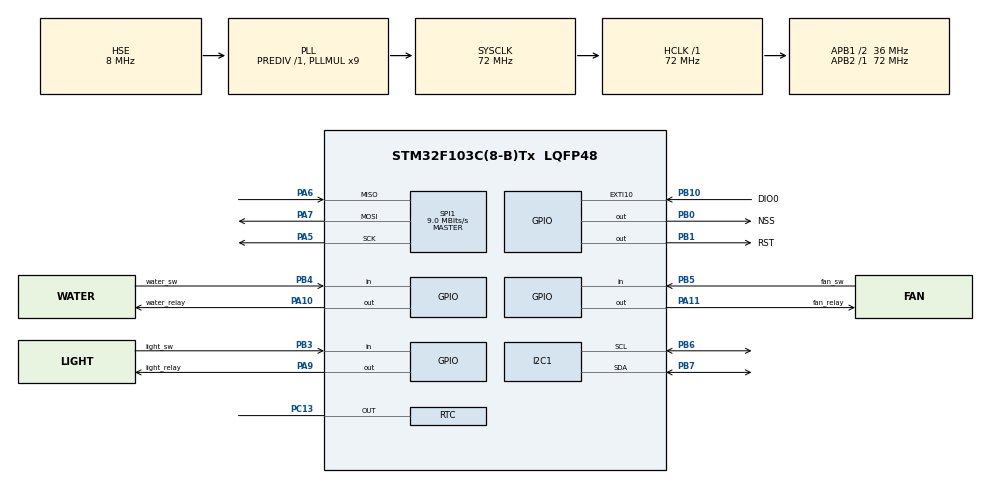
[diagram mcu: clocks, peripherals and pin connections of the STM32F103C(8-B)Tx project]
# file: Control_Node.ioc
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I2C1.I2C_Mode=I2C_Fast
Mcu.Family=STM32F1
Mcu.Name=STM32F103C(8-B)Tx
Mcu.Package=LQFP48
NVIC.EXTI15_10_IRQn=true\:0\:0\:false\:false\:true\:true\:true\:true
NVIC.PriorityGroup=NVIC_PRIORITYGROUP_4
NVIC.RTC_Alarm_IRQn=true\:0\:0\:false\:false\:true\:true\:true\:true
PA10.GPIO_Label=water_relay
PA10.Signal=GPIO_Output
PA11.GPIO_Label=fan_relay
PA11.Signal=GPIO_Output
PA13.Mode=Serial_Wire
PA13.Signal=SYS_JTMS-SWDIO
PA14.Mode=Serial_Wire
PA14.Signal=SYS_JTCK-SWCLK
PA5.Mode=Full_Duplex_Master
PA5.Signal=SPI1_SCK
PA6.Mode=Full_Duplex_Master
PA6.Signal=SPI1_MISO
PA7.Mode=Full_Duplex_Master
PA7.Signal=SPI1_MOSI
PA9.GPIO_Label=light_relay
PA9.Signal=GPIO_Output
PB0.GPIO_Label=NSS
PB0.PinState=GPIO_PIN_SET
PB0.Signal=GPIO_Output
PB1.GPIO_Label=RST
PB1.PinState=GPIO_PIN_SET
PB1.Signal=GPIO_Output
PB10.GPIO_Label=DIO0
PB10.Signal=GPXTI10
PB3.GPIO_Label=light_sw
PB3.Signal=GPIO_Input
PB4.GPIO_Label=water_sw
PB4.Signal=GPIO_Input
PB5.GPIO_Label=fan_sw
PB5.Signal=GPIO_Input
PB6.Mode=I2C
PB6.Signal=I2C1_SCL
PB7.Mode=I2C
PB7.Signal=I2C1_SDA
PC13-TAMPER-RTC.Mode=RTC OUT
PC13-TAMPER-RTC.Signal=RTC_OUT
PC14-OSC32_IN.Mode=LSE-External-Oscillator
PC14-OSC32_IN.Signal=RCC_OSC32_IN
PC15-OSC32_OUT.Mode=LSE-External-Oscillator
PC15-OSC32_OUT.Signal=RCC_OSC32_OUT
PD0-OSC_IN.Mode=HSE-External-Oscillator
PD0-OSC_IN.Signal=RCC_OSC_IN
PD1-OSC_OUT.Mode=HSE-External-Oscillator
PD1-OSC_OUT.Signal=RCC_OSC_OUT
ProjectManager.HeapSize=0x200
ProjectManager.StackSize=0x400
ProjectManager.TargetToolchain=STM32CubeIDE
RCC.AHBFreq_Value=72000000
RCC.APB1CLKDivider=RCC_HCLK_DIV2
RCC.APB1Freq_Value=36000000
RCC.APB1TimFreq_Value=72000000
RCC.APB2Freq_Value=72000000
RCC.APB2TimFreq_Value=72000000
RCC.HCLKFreq_Value=72000000
RCC.PLLMUL=RCC_PLL_MUL9
RCC.PLLSourceVirtual=RCC_PLLSOURCE_HSE
RCC.SYSCLKFreq_VALUE=72000000
RCC.SYSCLKSource=RCC_SYSCLKSOURCE_PLLCLK
RCC.USBFreq_Value=72000000
RTC.Seconds_A-RTC\ OUT=12
SPI1.BaudRatePrescaler=SPI_BAUDRATEPRESCALER_8
SPI1.CalculateBaudRate=9.0 MBits/s
SPI1.Direction=SPI_DIRECTION_2LINES
SPI1.Mode=SPI_MODE_MASTER
SPI1.VirtualType=VM_MASTER
VP_RTC_VS_RTC_Activate.Mode=RTC_Enabled
board=custom

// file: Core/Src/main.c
/* USER CODE BEGIN Header */
/**
  ******************************************************************************
  * @file           : main.c
  * @brief          : Main program body
  ******************************************************************************
  * @attention
  *
  * Copyright (c) 2025 STMicroelectronics.
  * All rights reserved.
  *
  * This software is licensed under terms that can be found in the LICENSE file
  * in the root directory of this software component.
  * If no LICENSE file comes with this software, it is provided AS-IS.
  *
  ******************************************************************************
  */
/* USER CODE END Header */
#include "main.h"

/* USER CODE BEGIN Includes */
#include "Lora.h"
#include <stdio.h>
#include "config.h"

/* USER CODE END Includes */

/* USER CODE BEGIN PD */
LoRa myLoRa;
uint16_t LoRa_Status;

typedef struct {
    uint8_t Check_ID;
    uint16_t Humidity;
    uint16_t Temperature;
    uint16_t LUX;
    uint16_t Data_MQ135;
    uint16_t soil_Temp;
    uint16_t soil_Moisture;
} SensorData_t;
SensorData_t sensorData;

uint8_t Received_Data[16]; //Buffer to store received data
volatile uint8_t relay_state = 0; // Variable to hold the relay state extracted from received data
volatile uint8_t current_state_flag = 0; //flag to send relays state to Gateway
uint8_t Alarm_set = 0x03;
uint8_t Transmit_Status_Data[2];
volatile uint32_t relayFanEndTime;
volatile uint32_t relayPumpEndTime;

typedef enum {
    MODE_MANUAL,
    MODE_AUTOMATE
} ControlMode_t;
ControlMode_t control_mode = MODE_MANUAL;

#define CMD_MANUAL   0xAA
#define CMD_AUTOMATE 0xBB

/* USER CODE END PD */

I2C_HandleTypeDef hi2c1;

RTC_HandleTypeDef hrtc;

SPI_HandleTypeDef hspi1;

void SystemClock_Config(void);
static void MX_GPIO_Init(void);
static void MX_I2C1_Init(void);
static void MX_SPI1_Init(void);
static void MX_RTC_Init(void);
/* USER CODE BEGIN PFP */

static void Relay_Change_State(void);
static void Fuzzilization_Data(void);
void Fuzzy_Pump_Control(void);
void Fuzzy_Fan_Control(void);
void Fuzzy_Check_Relay_Status(void);

float Critical_High_Temp(uint16_t Temp);
float Critical_Low_Temp(uint16_t Temp);
float Critical_High_Hum(uint16_t Hum);
float Critical_Low_Hum(uint16_t Hum);
float Critical_High_MQ135(uint16_t MQ135);
float Critical_High_Moisture(uint16_t Moisture);
float Critical_Low_Moisture(uint16_t Moisture);
float Critical_High_TempSoil(uint16_t TempSoil);
float Critical_Low_TempSoil(uint16_t TempSoil);
void Light_Control(uint16_t LUX);

void Set_Control_Mode_From_Command(uint8_t cmd);
void Send_Relay_Mode_Status(void);
/* USER CODE END PFP */

int main(void)
{

  /* MCU Configuration--------------------------------------------------------*/

  /* Reset of all peripherals, Initializes the Flash interface and the Systick. */
  HAL_Init();

  /* Configure the system clock */
  SystemClock_Config();

  /* Initialize all configured peripherals */
  MX_GPIO_Init();
  MX_I2C1_Init();
  MX_SPI1_Init();
  MX_RTC_Init();
  /* USER CODE BEGIN 2 */
  //LORA STATUS CONFIG
  myLoRa = newLoRa();

  myLoRa.CS_port         = NSS_GPIO_Port;
  myLoRa.CS_pin          = NSS_Pin;
  myLoRa.reset_port      = RST_GPIO_Port;
  myLoRa.reset_pin       = RST_Pin;
  myLoRa.DIO0_port       = DIO0_GPIO_Port;
  myLoRa.DIO0_pin        = DIO0_Pin;
  myLoRa.hSPIx           = &hspi1;

  myLoRa.frequency             = 440;             // default = 433 MHz
  myLoRa.spredingFactor        = SF_7;            // default = SF_7
  myLoRa.bandWidth             = BW_31_25KHz;       // default = BW_125KHz
  myLoRa.crcRate               = CR_4_5;          // default = CR_4_5
  myLoRa.power                 = POWER_20db;      // default = 20db
  myLoRa.overCurrentProtection = 130;             // default = 100 mA
  myLoRa.preamble              = 9;              // default = 8;

  if (LoRa_init(&myLoRa) == LORA_OK)
  {
  	LoRa_Status = 1;
  }

  LoRa_startReceiving(&myLoRa);

  /* USER CODE END 2 */

  /* Infinite loop */
  while (1)
  {

    /* USER CODE BEGIN 3 */
#if new_function == 1
	  Send_Relay_Mode_Status();// Hàm này chỉ được gọi một lần khi RTC wakeup mỗi 12s

	  if (Received_Data[0] == 0xFF)
	  {
		  //TURNOFF ALL THE RELAYS WHEN GATEWAY OFFER RESTART THE NETWORK
		  HAL_GPIO_WritePin(GPIOA, GPIO_PIN_9, RESET);
		  HAL_GPIO_WritePin(GPIOA, GPIO_PIN_10, RESET);
		  HAL_GPIO_WritePin(GPIOA, GPIO_PIN_11, RESET);
		  while(Received_Data[0] != 0xC0) //0XEE
		  {

		  }
		  HAL_Delay(750); //Wait for the other 2 nodes complete transmit
		  LoRa_transmit(&myLoRa, &Alarm_set, sizeof(Alarm_set), 500);
		  LoRa_startReceiving(&myLoRa);
		  while(Received_Data[0] != 0xB0) //0xDD
		  {

		  }
		  MX_RTC_Init();
	  }
	  else
	  {
		  switch (control_mode)
		  {
		      case MODE_MANUAL:
		          Relay_Change_State();
		          break;

		      case MODE_AUTOMATE:
				  Fuzzilization_Data();
				  Fuzzy_Check_Relay_Status();
				  break;

		      default:
		    	  break;
		  }

		  if (Received_Data[0] == 0xA3 && Received_Data[1] == 0xCC && control_mode != MODE_AUTOMATE)
		  {
		        // Extract relay state from the second byte
		        relay_state = Received_Data[2];

		        // Control the relays based on the relay state
		        if (relay_state & 0x01)  // Check if bit 0 (water pump) is set
		        {
		            HAL_GPIO_WritePin(GPIOA, GPIO_PIN_11, GPIO_PIN_SET); // Turn on water pump
		        }
		        else
		        {
		            HAL_GPIO_WritePin(GPIOA, GPIO_PIN_11, GPIO_PIN_RESET); // Turn off water pump
		        }

		        if (relay_state & 0x02)  // Check if bit 1 (light) is set
		        {
		            HAL_GPIO_WritePin(GPIOA, GPIO_PIN_9, GPIO_PIN_SET); // Turn on light
		        }
		        else
		        {
		            HAL_GPIO_WritePin(GPIOA, GPIO_PIN_9, GPIO_PIN_RESET); // Turn off light
		        }

		        if (relay_state & 0x04)  // Check if bit 2 (fan) is set
		        {
		            HAL_GPIO_WritePin(GPIOA, GPIO_PIN_10, GPIO_PIN_SET); // Turn on fan
		        }
		        else
		        {
		            HAL_GPIO_WritePin(GPIOA, GPIO_PIN_10, GPIO_PIN_RESET); // Turn off fan
		        }
		  }
	  }
#endif
  }
  /* USER CODE END 3 */
}

void SystemClock_Config(void)
{
  RCC_OscInitTypeDef RCC_OscInitStruct = {0};
  RCC_ClkInitTypeDef RCC_ClkInitStruct = {0};
  RCC_PeriphCLKInitTypeDef PeriphClkInit = {0};

  /** Initializes the RCC Oscillators according to the specified parameters
  * in the RCC_OscInitTypeDef structure.
  */
  RCC_OscInitStruct.OscillatorType = RCC_OSCILLATORTYPE_LSI|RCC_OSCILLATORTYPE_HSE;
  RCC_OscInitStruct.HSEState = RCC_HSE_ON;
  RCC_OscInitStruct.HSEPredivValue = RCC_HSE_PREDIV_DIV1;
  RCC_OscInitStruct.HSIState = RCC_HSI_ON;
  RCC_OscInitStruct.LSIState = RCC_LSI_ON;
  RCC_OscInitStruct.PLL.PLLState = RCC_PLL_ON;
  RCC_OscInitStruct.PLL.PLLSource = RCC_PLLSOURCE_HSE;
  RCC_OscInitStruct.PLL.PLLMUL = RCC_PLL_MUL9;
  if (HAL_RCC_OscConfig(&RCC_OscInitStruct) != HAL_OK)
  {
    Error_Handler();
  }

  /** Initializes the CPU, AHB and APB buses clocks
  */
  RCC_ClkInitStruct.ClockType = RCC_CLOCKTYPE_HCLK|RCC_CLOCKTYPE_SYSCLK
                              |RCC_CLOCKTYPE_PCLK1|RCC_CLOCKTYPE_PCLK2;
  RCC_ClkInitStruct.SYSCLKSource = RCC_SYSCLKSOURCE_PLLCLK;
  RCC_ClkInitStruct.AHBCLKDivider = RCC_SYSCLK_DIV1;
  RCC_ClkInitStruct.APB1CLKDivider = RCC_HCLK_DIV2;
  RCC_ClkInitStruct.APB2CLKDivider = RCC_HCLK_DIV1;

  if (HAL_RCC_ClockConfig(&RCC_ClkInitStruct, FLASH_LATENCY_2) != HAL_OK)
  {
    Error_Handler();
  }
  PeriphClkInit.PeriphClockSelection = RCC_PERIPHCLK_RTC;
  PeriphClkInit.RTCClockSelection = RCC_RTCCLKSOURCE_LSI;
  if (HAL_RCCEx_PeriphCLKConfig(&PeriphClkInit) != HAL_OK)
  {
    Error_Handler();
  }
}

static void MX_I2C1_Init(void)
{

  hi2c1.Instance = I2C1;
  hi2c1.Init.ClockSpeed = 400000;
  hi2c1.Init.DutyCycle = I2C_DUTYCYCLE_2;
  hi2c1.Init.OwnAddress1 = 0;
  hi2c1.Init.AddressingMode = I2C_ADDRESSINGMODE_7BIT;
  hi2c1.Init.DualAddressMode = I2C_DUALADDRESS_DISABLE;
  hi2c1.Init.OwnAddress2 = 0;
  hi2c1.Init.GeneralCallMode = I2C_GENERALCALL_DISABLE;
  hi2c1.Init.NoStretchMode = I2C_NOSTRETCH_DISABLE;
  if (HAL_I2C_Init(&hi2c1) != HAL_OK)
  {
    Error_Handler();
  }

}

static void MX_RTC_Init(void)
{

  RTC_TimeTypeDef sTime = {0};
  RTC_DateTypeDef DateToUpdate = {0};
  RTC_AlarmTypeDef sAlarm = {0};

  /** Initialize RTC Only
  */
  hrtc.Instance = RTC;
  hrtc.Init.AsynchPrediv = RTC_AUTO_1_SECOND;
  hrtc.Init.OutPut = RTC_OUTPUTSOURCE_ALARM;
  if (HAL_RTC_Init(&hrtc) != HAL_OK)
  {
    Error_Handler();
  }

  /** Initialize RTC and set the Time and Date
  */
  sTime.Hours = 0x0;
  sTime.Minutes = 0x0;
  sTime.Seconds = 0x0;

  if (HAL_RTC_SetTime(&hrtc, &sTime, RTC_FORMAT_BCD) != HAL_OK)
  {
    Error_Handler();
  }
  DateToUpdate.WeekDay = RTC_WEEKDAY_MONDAY;
  DateToUpdate.Month = RTC_MONTH_JANUARY;
  DateToUpdate.Date = 0x1;
  DateToUpdate.Year = 0x0;

  if (HAL_RTC_SetDate(&hrtc, &DateToUpdate, RTC_FORMAT_BCD) != HAL_OK)
  {
    Error_Handler();
  }

  /** Enable the Alarm A
  */
  sAlarm.AlarmTime.Hours = 0x0;
  sAlarm.AlarmTime.Minutes = 0x0;
  sAlarm.AlarmTime.Seconds = 0x12;
  sAlarm.Alarm = RTC_ALARM_A;
  if (HAL_RTC_SetAlarm_IT(&hrtc, &sAlarm, RTC_FORMAT_BCD) != HAL_OK)
  {
    Error_Handler();
  }

}

static void MX_SPI1_Init(void)
{

  /* SPI1 parameter configuration*/
  hspi1.Instance = SPI1;
  hspi1.Init.Mode = SPI_MODE_MASTER;
  hspi1.Init.Direction = SPI_DIRECTION_2LINES;
  hspi1.Init.DataSize = SPI_DATASIZE_8BIT;
  hspi1.Init.CLKPolarity = SPI_POLARITY_LOW;
  hspi1.Init.CLKPhase = SPI_PHASE_1EDGE;
  hspi1.Init.NSS = SPI_NSS_SOFT;
  hspi1.Init.BaudRatePrescaler = SPI_BAUDRATEPRESCALER_8;
  hspi1.Init.FirstBit = SPI_FIRSTBIT_MSB;
  hspi1.Init.TIMode = SPI_TIMODE_DISABLE;
  hspi1.Init.CRCCalculation = SPI_CRCCALCULATION_DISABLE;
  hspi1.Init.CRCPolynomial = 10;
  if (HAL_SPI_Init(&hspi1) != HAL_OK)
  {
    Error_Handler();
  }

}

static void MX_GPIO_Init(void)
{
  GPIO_InitTypeDef GPIO_InitStruct = {0};

  /* GPIO Ports Clock Enable */
  __HAL_RCC_GPIOC_CLK_ENABLE();
  __HAL_RCC_GPIOD_CLK_ENABLE();
  __HAL_RCC_GPIOA_CLK_ENABLE();
  __HAL_RCC_GPIOB_CLK_ENABLE();

  /*Configure GPIO pin Output Level */
  HAL_GPIO_WritePin(GPIOB, NSS_Pin|RST_Pin, GPIO_PIN_SET);

  /*Configure GPIO pin Output Level */
  HAL_GPIO_WritePin(GPIOA, light_relay_Pin|water_relay_Pin|fan_relay_Pin, GPIO_PIN_RESET);

  /*Configure GPIO pins : NSS_Pin RST_Pin */
  GPIO_InitStruct.Pin = NSS_Pin|RST_Pin;
  GPIO_InitStruct.Mode = GPIO_MODE_OUTPUT_PP;
  GPIO_InitStruct.Pull = GPIO_NOPULL;
  GPIO_InitStruct.Speed = GPIO_SPEED_FREQ_LOW;
  HAL_GPIO_Init(GPIOB, &GPIO_InitStruct);

  /*Configure GPIO pin : DIO0_Pin */
  GPIO_InitStruct.Pin = DIO0_Pin;
  GPIO_InitStruct.Mode = GPIO_MODE_IT_RISING;
  GPIO_InitStruct.Pull = GPIO_NOPULL;
  HAL_GPIO_Init(DIO0_GPIO_Port, &GPIO_InitStruct);

  /*Configure GPIO pins : light_relay_Pin water_relay_Pin fan_relay_Pin */
  GPIO_InitStruct.Pin = light_relay_Pin|water_relay_Pin|fan_relay_Pin;
  GPIO_InitStruct.Mode = GPIO_MODE_OUTPUT_PP;
  GPIO_InitStruct.Pull = GPIO_NOPULL;
  GPIO_InitStruct.Speed = GPIO_SPEED_FREQ_LOW;
  HAL_GPIO_Init(GPIOA, &GPIO_InitStruct);

  /*Configure GPIO pins : light_sw_Pin water_sw_Pin fan_sw_Pin */
  GPIO_InitStruct.Pin = light_sw_Pin|water_sw_Pin|fan_sw_Pin;
  GPIO_InitStruct.Mode = GPIO_MODE_INPUT;
  GPIO_InitStruct.Pull = GPIO_NOPULL;
  HAL_GPIO_Init(GPIOB, &GPIO_InitStruct);

  /* EXTI interrupt init*/
  HAL_NVIC_SetPriority(EXTI15_10_IRQn, 0, 0);
  HAL_NVIC_EnableIRQ(EXTI15_10_IRQn);

}

/* USER CODE BEGIN 4 */
//THIS WAKE UP TRIGGERED BY GPIO DIO0, HAPPENS WHEN A DATA RECEIVED BY SX1278 MODULE
void HAL_GPIO_EXTI_Callback(uint16_t GPIO_Pin)
{
    if (GPIO_Pin == DIO0_Pin)
    {
    	LoRa_receive(&myLoRa, Received_Data, sizeof(Received_Data));
    	Set_Control_Mode_From_Command(Received_Data[1]);
    }
}

#if new_function == 1
static void Relay_Change_State(void)
{
    if (Received_Data[0] == 0xA3 && Received_Data[1] == 0xAA)
    {
        // Extract relay state from the second byte
        relay_state = Received_Data[2];

        // Control the relays based on the relay state
        if (relay_state & 0x01)  // Check if bit 0 (water pump) is set
        {
            HAL_GPIO_WritePin(GPIOA, GPIO_PIN_11, GPIO_PIN_SET); // Turn on water pump
        }
        else
        {
            HAL_GPIO_WritePin(GPIOA, GPIO_PIN_11, GPIO_PIN_RESET); // Turn off water pump
        }

        if (relay_state & 0x02)  // Check if bit 1 (light) is set
        {
            HAL_GPIO_WritePin(GPIOA, GPIO_PIN_9, GPIO_PIN_SET); // Turn on light
        }
        else
        {
            HAL_GPIO_WritePin(GPIOA, GPIO_PIN_9, GPIO_PIN_RESET); // Turn off light
        }

        if (relay_state & 0x04)  // Check if bit 2 (fan) is set
        {
            HAL_GPIO_WritePin(GPIOA, GPIO_PIN_10, GPIO_PIN_SET); // Turn on fan
        }
        else
        {
            HAL_GPIO_WritePin(GPIOA, GPIO_PIN_10, GPIO_PIN_RESET); // Turn off fan
        }
    }
}

void Set_Control_Mode_From_Command(uint8_t cmd)
{
    switch(cmd)
    {
        case CMD_MANUAL:
            control_mode = MODE_MANUAL;
            break;
        case CMD_AUTOMATE:
            control_mode = MODE_AUTOMATE;
            break;
        default:
            // Xử lý nếu cần: giữ nguyên mode cũ hoặc báo lỗi
            break;
    }
}

void Send_Relay_Mode_Status(void)
{
	  if(current_state_flag == 1)
	  {
		  //transmit back to gateway
		  Transmit_Status_Data[0] = 0xA3; // ID byte
		  uint8_t pa9 = HAL_GPIO_ReadPin(GPIOA, GPIO_PIN_9);
		  uint8_t pa10 = HAL_GPIO_ReadPin(GPIOA, GPIO_PIN_10);
		  uint8_t pa11 = HAL_GPIO_ReadPin(GPIOA, GPIO_PIN_11);

		  // Gộp trạng thái lại thành 1 byte:
		  // Ví dụ: PA11 -> bit 2, PA10 -> bit 1, PA9 -> bit 0
		  Transmit_Status_Data[1] = (pa11 << 2) | (pa10 << 1) | pa9;
		  LoRa_transmit(&myLoRa, Transmit_Status_Data, sizeof(Transmit_Status_Data), 500);
		  LoRa_startReceiving(&myLoRa);
		  current_state_flag = 0;
		  //return to receive state
	  }
}

void HAL_RTC_AlarmAEventCallback(RTC_HandleTypeDef *hrtc)
{
    RTC_TimeTypeDef sTime = {0};
    RTC_AlarmTypeDef sAlarm = {0};

    // Going to send back current state
    current_state_flag = 1;

    // Get current time
    HAL_RTC_GetTime(hrtc, &sTime, RTC_FORMAT_BIN);  // Chuyển sang RTC_FORMAT_BIN để dễ tính toán

    // Adding 10s to wake up sequence, because first setting of the alarm is 10s so this node will wake up at 10s 20s 30s...
    uint32_t total_seconds = sTime.Hours * 3600 + sTime.Minutes * 60 + sTime.Seconds + 10;
    sAlarm.AlarmTime.Hours   = (total_seconds / 3600) % 24;
    sAlarm.AlarmTime.Minutes = (total_seconds / 60) % 60;
    sAlarm.AlarmTime.Seconds = total_seconds % 60;
    sAlarm.Alarm = RTC_ALARM_A;
    // Re-set alarm with updated wakeup time
    HAL_RTC_SetAlarm_IT(hrtc, &sAlarm, RTC_FORMAT_BIN);  // Sử dụng RTC_FORMAT_BIN
}

//----------------------------------------------------------------------------FUZZY CONTROL HANDLE FUNCTIONS-----------------------------------------------------------------------------------------------------------//
static void Fuzzilization_Data(void)
{
	if((Received_Data[2] == 0x31) && (Received_Data[3] == 0x32))
	{
		sensorData.Humidity    = Received_Data[5] | (Received_Data[4] << 8);
		sensorData.Temperature = Received_Data[7] | (Received_Data[6] << 8);
		sensorData.LUX         = Received_Data[9] | (Received_Data[8] << 8);
		sensorData.Data_MQ135  = Received_Data[11] | (Received_Data[10] << 8);
	    sensorData.soil_Temp = Received_Data[13] | (Received_Data[12] << 8);
	    sensorData.soil_Moisture = Received_Data[15] | (Received_Data[14] << 8);

	    Fuzzy_Fan_Control();
	    Fuzzy_Pump_Control();
	    Light_Control(sensorData.LUX);
	}
}

void Fuzzy_Check_Relay_Status(void)
{
    if (HAL_GetTick() >= relayPumpEndTime)
    {
        HAL_GPIO_WritePin(GPIOA, GPIO_PIN_11, GPIO_PIN_RESET);  // Relay OFF
    }

    else if (HAL_GetTick() >= relayFanEndTime)
    {
    	HAL_GPIO_WritePin(GPIOA, GPIO_PIN_10, GPIO_PIN_RESET);  // Relay OFF
    }
}

void Light_Control(uint16_t LUX)
{
    if (LUX <= 2000)
    {
        // TurnOff_Light();
    	HAL_GPIO_WritePin(GPIOA, GPIO_PIN_9, GPIO_PIN_SET); // Turn on light
    }
    else
    {
        // TurnOn_Light();
    	HAL_GPIO_WritePin(GPIOA, GPIO_PIN_9, GPIO_PIN_RESET); // Turn off light
    }
}

void Fuzzy_Fan_Control(void)
{
	uint8_t seconds;
	float HUM, MQ135, TEMP;
	HUM = Critical_High_Hum(sensorData.Humidity) * 10;
	MQ135 = Critical_High_MQ135(sensorData.Data_MQ135) * 10;
	TEMP = Critical_High_Temp(sensorData.Temperature) * 10;
	seconds = (int)(0.2*HUM + 0.3*MQ135 + 0.5*TEMP);
    if (seconds > 0)
    {
        HAL_GPIO_WritePin(GPIOA, GPIO_PIN_10, GPIO_PIN_SET);  // Relay ON
        relayFanEndTime = HAL_GetTick() + (seconds * 1000); // lưu thời gian tắt (ms)
    }
}

void Fuzzy_Pump_Control(void)
{
	uint8_t seconds;
	float MOIS, TEMPSOIL, HUM;
	MOIS = Critical_Low_Moisture(sensorData.soil_Moisture) * 10;
	TEMPSOIL = Critical_High_TempSoil(sensorData.soil_Temp) * 10;
	HUM = Critical_Low_Hum(sensorData.Humidity) * 10;
	seconds = (int)(0.2*HUM + 0.2*TEMPSOIL + 0.6*MOIS);
    if (seconds > 0)
    {
    	HAL_GPIO_WritePin(GPIOA, GPIO_PIN_11, GPIO_PIN_SET);  // Relay ON
        relayPumpEndTime = HAL_GetTick() + (seconds * 1000); // lưu thời gian tắt (ms)
    }
}

float Critical_High_Hum(uint16_t Hum)
{
	Hum = Hum / 10.0;
    if (Hum < 85) return 0;
    else if (Hum >= 95) return 1;
    else return (Hum - 85) / 10.0;
}
float Critical_Low_Hum(uint16_t Hum)
{
	Hum = Hum / 10.0;
    if (Hum >= 75) return 0;
    else if (Hum <= 60) return 1;
    else return (75 - Hum) / 15.0;
}

float Critical_High_Temp(uint16_t Temp)
{
	Temp = Temp / 10.0;
    if (Temp <= 30) return 0;
    else if (Temp >= 40) return 1;
    else return (Temp - 30) / 10.0;
}
float Critical_Low_Temp(uint16_t Temp)
{
	Temp = Temp / 10.0;
    if (Temp >= 15) return 0;
    else if (Temp <= 8) return 1;
    else return (15 - Temp) / 7.0;
}

float Critical_High_Moisture(uint16_t Moisture)
{
    if (Moisture <= 85) return 0;
    else if (Moisture >= 95) return 1;
    else return (Moisture - 85) / 10;
}
float Critical_Low_Moisture(uint16_t Moisture)
{
    if (Moisture <= 50) return 1;
    else if (Moisture >= 65) return 0;
    else return (65 - Moisture) / 15;
}

float Critical_High_TempSoil(uint16_t TempSoil)
{
    if (TempSoil <= 28) return 0;
    else if (TempSoil >= 38) return 1;
    else return (TempSoil - 28) / 10;
}
float Critical_Low_TempSoil(uint16_t TempSoil)
{
    if (TempSoil <= 10) return 1;
    else if (TempSoil >= 20) return 0;
    else return (20 - TempSoil) / 10;
}

float Critical_High_MQ135(uint16_t MQ135)
{
    if (MQ135 <= 700) return 0;
    else if (MQ135 >= 1200) return 1;
    else return (MQ135 - 700) / 500;
}
#endif
/* USER CODE END 4 */

void Error_Handler(void)
{
  __disable_irq();
  while (1)
  {
  }
}
